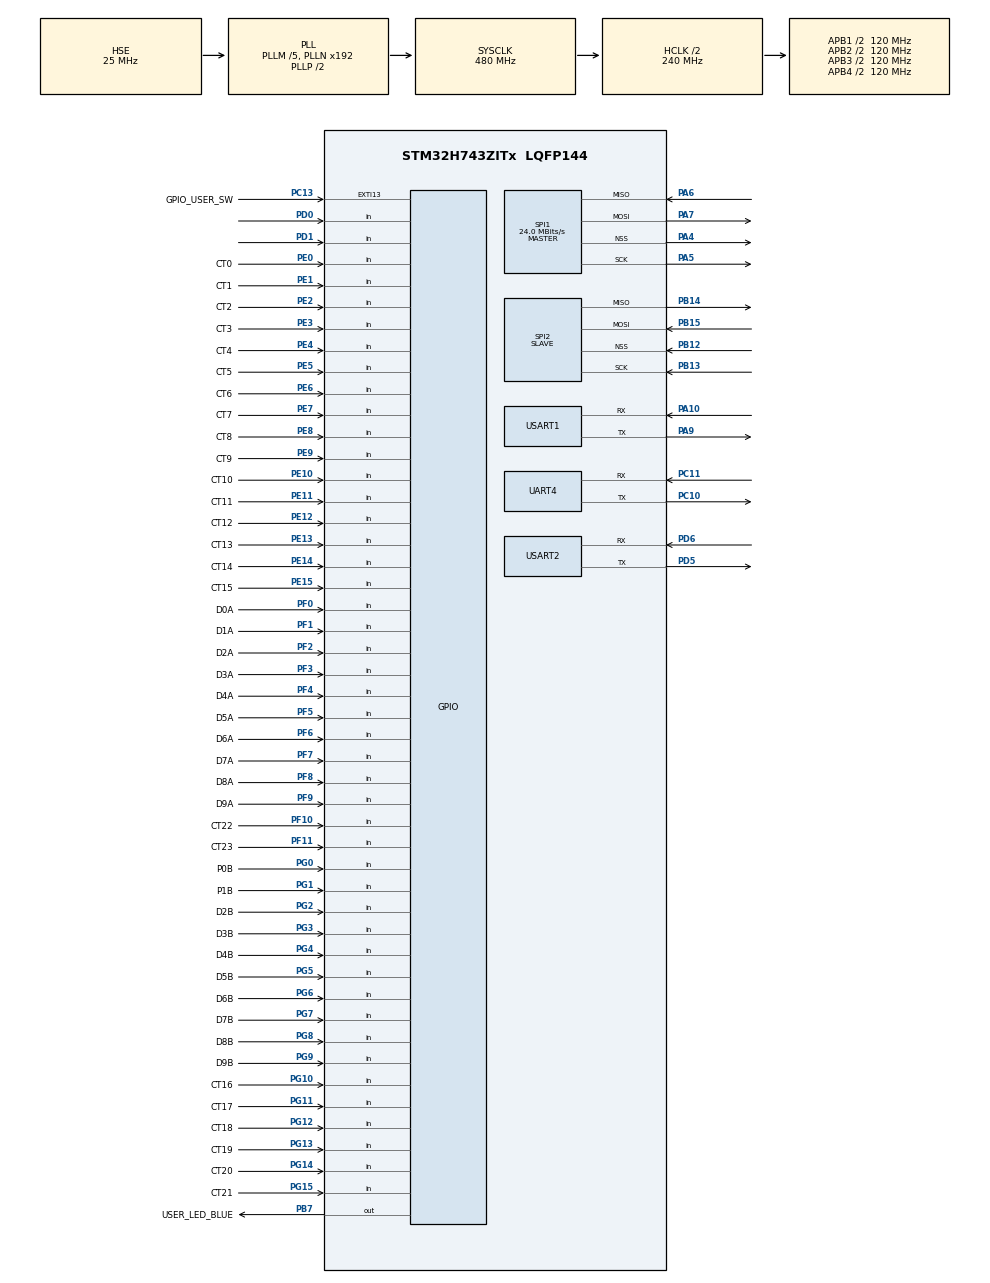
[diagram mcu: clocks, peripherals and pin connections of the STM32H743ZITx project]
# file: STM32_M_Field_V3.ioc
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CORTEX_M7.default_mode_Activation=1
IWDG1.Prescaler=IWDG_PRESCALER_64
IWDG1.Reload=4000
IWDG1.Window=4000
Mcu.Family=STM32H7
Mcu.Name=STM32H743ZITx
Mcu.Package=LQFP144
NVIC.PriorityGroup=NVIC_PRIORITYGROUP_4
PA10.GPIO_Speed=GPIO_SPEED_FREQ_VERY_HIGH
PA10.Mode=Asynchronous
PA10.Signal=USART1_RX
PA13\ (JTMS/SWDIO).Signal=DEBUG_JTMS-SWDIO
PA14\ (JTCK/SWCLK).Signal=DEBUG_JTCK-SWCLK
PA4.Mode=NSS_Signal_Hard_Output
PA4.Signal=SPI1_NSS
PA5.Mode=Full_Duplex_Master
PA5.Signal=SPI1_SCK
PA6.Mode=Full_Duplex_Master
PA6.Signal=SPI1_MISO
PA7.Mode=Full_Duplex_Master
PA7.Signal=SPI1_MOSI
PA9.GPIO_Speed=GPIO_SPEED_FREQ_VERY_HIGH
PA9.Mode=Asynchronous
PA9.Signal=USART1_TX
PB12.Mode=NSS_Signal_Hard_Input
PB12.Signal=SPI2_NSS
PB13.Mode=Full_Duplex_Slave
PB13.Signal=SPI2_SCK
PB14.Mode=Full_Duplex_Slave
PB14.Signal=SPI2_MISO
PB15.Mode=Full_Duplex_Slave
PB15.Signal=SPI2_MOSI
PB7.GPIO_Label=USER_LED_BLUE
PB7.Signal=GPIO_Output
PC10.GPIO_Speed=GPIO_SPEED_FREQ_VERY_HIGH
PC10.Mode=Asynchronous
PC10.Signal=UART4_TX
PC11.GPIO_Speed=GPIO_SPEED_FREQ_VERY_HIGH
PC11.Mode=Asynchronous
PC11.Signal=UART4_RX
PC13.GPIO_Label=GPIO_USER_SW
PC13.Signal=GPXTI13
PD0.Signal=GPIO_Input
PD1.Signal=GPIO_Input
PD5.GPIO_Speed=GPIO_SPEED_FREQ_VERY_HIGH
PD5.Mode=Asynchronous
PD5.Signal=USART2_TX
PD6.GPIO_Speed=GPIO_SPEED_FREQ_VERY_HIGH
PD6.Mode=Asynchronous
PD6.Signal=USART2_RX
PD8.Signal=USART3_TX
PD9.Signal=USART3_RX
PE0.GPIO_Label=CT0
PE0.Signal=GPIO_Input
PE1.GPIO_Label=CT1
PE1.Signal=GPIO_Input
PE10.GPIO_Label=CT10
PE10.Signal=GPIO_Input
PE11.GPIO_Label=CT11
PE11.Signal=GPIO_Input
PE12.GPIO_Label=CT12
PE12.Signal=GPIO_Input
PE13.GPIO_Label=CT13
PE13.Signal=GPIO_Input
PE14.GPIO_Label=CT14
PE14.Signal=GPIO_Input
PE15.GPIO_Label=CT15
PE15.Signal=GPIO_Input
PE2.GPIO_Label=CT2
PE2.Signal=GPIO_Input
PE3.GPIO_Label=CT3
PE3.Signal=GPIO_Input
PE4.GPIO_Label=CT4
PE4.Signal=GPIO_Input
PE5.GPIO_Label=CT5
PE5.Signal=GPIO_Input
PE6.GPIO_Label=CT6
PE6.Signal=GPIO_Input
PE7.GPIO_Label=CT7
PE7.Signal=GPIO_Input
PE8.GPIO_Label=CT8
PE8.Signal=GPIO_Input
PE9.GPIO_Label=CT9
PE9.Signal=GPIO_Input
PF0.GPIO_Label=D0A
PF0.Signal=GPIO_Input
PF1.GPIO_Label=D1A
PF1.Signal=GPIO_Input
PF10.GPIO_Label=CT22
PF10.Signal=GPIO_Input
PF11.GPIO_Label=CT23
PF11.Signal=GPIO_Input
PF2.GPIO_Label=D2A
PF2.Signal=GPIO_Input
PF3.GPIO_Label=D3A
PF3.Signal=GPIO_Input
PF4.GPIO_Label=D4A
PF4.Signal=GPIO_Input
PF5.GPIO_Label=D5A
PF5.Signal=GPIO_Input
PF6.GPIO_Label=D6A
PF6.Signal=GPIO_Input
PF7.GPIO_Label=D7A
PF7.Signal=GPIO_Input
PF8.GPIO_Label=D8A
PF8.Signal=GPIO_Input
PF9.GPIO_Label=D9A
PF9.Signal=GPIO_Input
PG0.GPIO_Label=P0B
PG0.Signal=GPIO_Input
PG1.GPIO_Label=P1B
PG1.Signal=GPIO_Input
PG10.GPIO_Label=CT16
PG10.Signal=GPIO_Input
PG11.GPIO_Label=CT17
PG11.Signal=GPIO_Input
PG12.GPIO_Label=CT18
PG12.Signal=GPIO_Input
PG13.GPIO_Label=CT19
PG13.Signal=GPIO_Input
PG14.GPIO_Label=CT20
PG14.Signal=GPIO_Input
PG15.GPIO_Label=CT21
PG15.Signal=GPIO_Input
PG2.GPIO_Label=D2B
PG2.Signal=GPIO_Input
PG3.GPIO_Label=D3B
PG3.Signal=GPIO_Input
PG4.GPIO_Label=D4B
PG4.Signal=GPIO_Input
PG5.GPIO_Label=D5B
PG5.Signal=GPIO_Input
PG6.GPIO_Label=D6B
PG6.Signal=GPIO_Input
PG7.GPIO_Label=D7B
PG7.Signal=GPIO_Input
PG8.GPIO_Label=D8B
PG8.Signal=GPIO_Input
PG9.GPIO_Label=D9B
PG9.Signal=GPIO_Input
PH0-OSC_IN\ (PH0).Mode=HSE-External-Oscillator
PH0-OSC_IN\ (PH0).Signal=RCC_OSC_IN
PH1-OSC_OUT\ (PH1).Mode=HSE-External-Oscillator
PH1-OSC_OUT\ (PH1).Signal=RCC_OSC_OUT
ProjectManager.HeapSize=0x200
ProjectManager.StackSize=0x400
ProjectManager.TargetToolchain=STM32CubeIDE
RCC.ADCFreq_Value=50390625
RCC.APB1Freq_Value=120000000
RCC.APB2Freq_Value=120000000
RCC.APB3Freq_Value=120000000
RCC.APB4Freq_Value=120000000
RCC.CortexFreq_Value=480000000
RCC.D1PPRE=RCC_APB3_DIV2
RCC.D2PPRE1=RCC_APB1_DIV2
RCC.D2PPRE2=RCC_APB2_DIV2
RCC.D3PPRE=RCC_APB4_DIV2
RCC.DIVM1=5
RCC.DIVN1=192
RCC.DIVQ1=5
RCC.HCLKFreq_Value=240000000
RCC.HPRE=RCC_HCLK_DIV2
RCC.HSE_VALUE=25000000
RCC.PLLFRACN=0
RCC.PLLSourceVirtual=RCC_PLLSOURCE_HSE
RCC.SYSCLKFreq_VALUE=480000000
RCC.SYSCLKSource=RCC_SYSCLKSOURCE_PLLCLK
RCC.USBFreq_Value=192000000
SPI1.BaudRatePrescaler=SPI_BAUDRATEPRESCALER_8
SPI1.CalculateBaudRate=24.0 MBits/s
SPI1.DataSize=SPI_DATASIZE_8BIT
SPI1.Direction=SPI_DIRECTION_2LINES
SPI1.Mode=SPI_MODE_MASTER
SPI1.NSSPMode=SPI_NSS_PULSE_DISABLE
SPI1.VirtualNSS=VM_NSSHARD
SPI1.VirtualType=VM_MASTER
SPI2.DataSize=SPI_DATASIZE_8BIT
SPI2.Direction=SPI_DIRECTION_2LINES
SPI2.Mode=SPI_MODE_SLAVE
SPI2.VirtualNSS=VM_NSSHARD
SPI2.VirtualType=VM_SLAVE
USART1.VirtualMode-Asynchronous=VM_ASYNC
USART2.VirtualMode-Asynchronous=VM_ASYNC
VP_IWDG1_VS_IWDG.Mode=IWDG_Activate
VP_MEMORYMAP_VS_MEMORYMAP.Mode=CurAppReg
board=custom

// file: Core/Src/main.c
/* USER CODE BEGIN Header */
/**
  ******************************************************************************
  * @file           : main.c
  * @brief          : Main program body
  ******************************************************************************
  * @attention
  *
  * Copyright (c) 2025 STMicroelectronics.
  * All rights reserved.
  *
  ******************************************************************************
  *  >>> THINGS YOU MUST VERIFY FOR YOUR BOARD <<<
  *    1. Buffers MUST live in DMA-accessible RAM (AXI SRAM / SRAM1..3),
  *       NOT DTCM. See the ".axisram" section note below.
  *    2. TIM2_UP / DMA_REQUEST_TIM2_UP / DMA1 streams exist on your part.
  *    3. If D-Cache is ON, the SCB_InvalidateDCache_by_Addr() calls are needed
  *       (already included). aligned(32) + size multiple of 32 is required.
  *    4. EXTI1/EXTI3 IRQHandlers must not also be defined in stm32h7xx_it.c
  *       (remove them there if duplicated).
  *  ==========================================================================
  */
/* USER CODE END Header */
#include "main.h"

/* USER CODE BEGIN Includes */
#include <stdio.h>
#include <string.h>
/* USER CODE END Includes */

/* USER CODE BEGIN PTD */
typedef struct {
	uint16_t data_port_e;
	uint16_t data_port_f;
	uint16_t data_port_g;
} sample_t;

typedef struct {
	int16_t ns_adc;
	int16_t ew_adc;
	uint32_t ns_t;
	uint32_t ew_t;
	uint32_t counter;
} data_record_t;

typedef struct {
	int16_t max_ns_adc;
	int16_t max_ew_adc;
	uint32_t max_ns_t;
	uint32_t max_ew_t;
	float max_ns_inp;
	float max_ew_inp;
} max_sample_t;

typedef struct {
	int16_t min_ns_adc;
	int16_t min_ew_adc;
	uint32_t min_ns_t;
	uint32_t min_ew_t;
} min_sample_t;

typedef struct {
	uint8_t ns_rec_type;
	int16_t ns_first_adc;
	int16_t ns_max_adc;
	int16_t ns_min_adc;
	int16_t ew_first_adc;
	int16_t ew_max_adc;
	int16_t ew_min_adc;
	uint32_t ns_max_t;
	uint32_t ns_min_t;
	uint32_t ew_max_t;
	uint32_t ew_min_t;
	uint32_t trigger_t;
	int16_t ns_favg;
	int16_t ew_favg;
} record_t;

#define POL_RX_SIZE     4
#define POL_TIMEOUT_MS  1000
#define SPI_TX_FRAME_SIZE  128

uint8_t spiTxFrame[SPI_TX_FRAME_SIZE];

typedef enum { POL_NEGATIVE = 0,
			   POL_POSITIVE = 1,
			   POL_UNKNOWN  = 2      /* UNKNOWN */
} polarity_t;

uint8_t polRxBuf[POL_RX_SIZE];
uint8_t polarity = POL_UNKNOWN;  /* = 2 */

volatile uint32_t trig_pos     = 0;   // DMA write index latched at trigger moment
volatile uint8_t  trigger_flag = 0;
uint32_t captured_count = 0;

/* USER CODE END PTD */

/* USER CODE BEGIN PD */
#define DEBUG_PRINT_DATA_ENABLE
#define DEBUG_SYSTEM_ENABLE

//#define WATCHDOG_DISABLE

#define SETTING_USE_DATASHEET_PARAM
//#define SETTING_INVERT_EW_CHANNEL

#define DELAY_SEC						1
#define MAX_BUF_SIZE					500

#define TB_MODE_0						0
#define TB_MODE_1						~(TB_MODE_0)
#define TB_MODE							TB_MODE_0

#define SAMPLE_READ_MAX					1000
#define ADC_R1         				 	10000.0
#define ADC_R2          				4320.0
#define BUFFER_SIZE 					2000

/* --- DMA sampling configuration ---------------------------------------------
 * TIM2 kernel clock on this clock tree = 240 MHz
 *   (HCLK = 480/2 = 240 MHz, APB1 /2 -> PCLK1 120 MHz, timer x2 -> 240 MHz)
 * ARR = (TIM2_CLK / SAMPLE_RATE_HZ) - 1
 *   1 MHz  -> ARR 239   (1.0 us / sample)
 *   2 MHz  -> ARR 119   (0.5 us / sample)
 *   ~3.3MHz-> ARR  71   (matches old read_adc ~300 ns)
 * Pick a rate the AHB bus + 4 parallel DMA can sustain; start safe, then push.
 */
#define TIM2_CLK_HZ						240000000UL
#define SAMPLE_RATE_HZ					1000000UL
#define TIM2_ARR						((TIM2_CLK_HZ / SAMPLE_RATE_HZ) - 1U)

#ifdef SETTING_USE_DATASHEET_PARAM
	#define ADC_VREF_P						2.048
	#define ADC_VREF_N						0.988
	#define ADC_OFFSET						1.52
#else
	#define ADC_VREF_P						2.003
	#define ADC_VREF_N						0.994
	#define ADC_OFFSET						1.55
#endif
/* USER CODE END PD */

/* USER CODE BEGIN PM */
/* DMA target buffers — MUST be in AXI SRAM (DMA cannot reach DTCM).
 * If your linker has no ".axisram" output section, either:
 *   (a) add one mapping to RAM_D1 (0x24000000) in your .ld, OR
 *   (b) remove the section attribute IF your project's default RAM is AXI SRAM
 *       (many CubeIDE H7 projects default to DTCM — do NOT leave it there).
 * aligned(32) + (BUFFER_SIZE*2) multiple of 32 -> safe for D-Cache maintenance.
 */
/* USER CODE END PM */

IWDG_HandleTypeDef hiwdg1;

SPI_HandleTypeDef hspi1;
SPI_HandleTypeDef hspi2;

UART_HandleTypeDef huart4;
UART_HandleTypeDef huart1;
UART_HandleTypeDef huart2;

/* USER CODE BEGIN PV */
UART_HandleTypeDef *esp_uart;
UART_HandleTypeDef *debug_uart;

sample_t sample[SAMPLE_READ_MAX];
sample_t ordered[SAMPLE_READ_MAX];   // <<< เพิ่มบรรทัดนี้
record_t rec;

/* USER CODE END PV */

void SystemClock_Config(void);
static void MPU_Config(void);
static void MX_GPIO_Init(void);
static void MX_IWDG1_Init(void);
static void MX_UART4_Init(void);
static void MX_USART1_UART_Init(void);
static void MX_USART2_UART_Init(void);
static void MX_SPI1_Init(void);
static void MX_SPI2_Init(void);
/* USER CODE BEGIN PFP */
void find_max_min();
void send_data();
void EXTI0_IRQHandler(void);
void EXTI1_IRQHandler(void);
void HAL_GPIO_EXTI_Callback(uint16_t GPIO_Pin);
void collect_samples(void);
void clear_buffer(void);
void reorder_samples(uint32_t n);
void send_data_spi1(uint8_t pol);
void receive_polarity(void);
/* USER CODE END PFP */

/* USER CODE BEGIN 0 */
void delay_sec(int sec){
	int count_500ms = 0;
	do{
		if (HAL_IWDG_Refresh(&hiwdg1) != HAL_OK){
			Error_Handler();
		}
		HAL_Delay(500);
		count_500ms++;
	}while(count_500ms < (sec<<1));
}
/* USER CODE END 0 */

int main(void)
{

  /* MPU Configuration--------------------------------------------------------*/
  MPU_Config();

  /* MCU Configuration--------------------------------------------------------*/

  /* Reset of all peripherals, Initializes the Flash interface and the Systick. */
  HAL_Init();

  /* USER CODE BEGIN Init */
  // -- UART Mapping -- //
  esp_uart = &huart2;
  debug_uart = &huart4;
  /* USER CODE END Init */

  /* Configure the system clock */
  SystemClock_Config();

  /* Initialize all configured peripherals */
  MX_GPIO_Init();
  MX_IWDG1_Init();
  MX_UART4_Init();
  MX_USART1_UART_Init();
  MX_USART2_UART_Init();
  MX_SPI1_Init();
  MX_SPI2_Init();
  /* USER CODE BEGIN 2 */

  // Temp for debug
#ifdef WATCHDOG_DISABLE
  DBGMCU->APB1FZ |= DBGMCU_APB1_FZ_DBG_IWDG_STOP;
#endif

  printf("Last reset cause : ");

  if (__HAL_RCC_GET_FLAG(RCC_FLAG_IWDG1RST))
  {
      printf("IWDG1 timer");
  }
  else if (__HAL_RCC_GET_FLAG(RCC_FLAG_PINRST))
  {
      printf("Reset Pin");
  }
  else if (__HAL_RCC_GET_FLAG(RCC_FLAG_PORRST))
  {
      printf("Power On Reset");
  }
  else if (__HAL_RCC_GET_FLAG(RCC_FLAG_SFTRST))
  {
      printf("Software Reset");
  }
  else
  {
      printf("Other reason");
  }

  printf("\n");

  /* Clear reset flags */
  __HAL_RCC_CLEAR_RESET_FLAGS();

//  printf("Setup :\n");

 // printf("Main program started (DMA capture @ %lu Hz, ARR=%lu)\n",
 //        (unsigned long)SAMPLE_RATE_HZ, (unsigned long)TIM2_ARR);
  HAL_GPIO_WritePin(USER_LED_BLUE_GPIO_Port, USER_LED_BLUE_Pin, 0);
  /* USER CODE END 2 */

  /* Infinite loop */
  while (1)
  {
		    HAL_IWDG_Refresh(&hiwdg1);

		    collect_samples();          // เก็บจนกว่าจะ trig หรือเต็ม

		    if (trigger_flag)           // ถ้ามี trig จริง -> วิเคราะห์
		    {
		    	reorder_samples(captured_count);
		    	receive_polarity();
		        find_max_min();
		        send_data_spi1(polarity);
		        // send_data();
		        clear_buffer();
	    }
  }
  /* USER CODE END 3 */
}

void SystemClock_Config(void)
{
  RCC_OscInitTypeDef RCC_OscInitStruct = {0};
  RCC_ClkInitTypeDef RCC_ClkInitStruct = {0};

  /** Supply configuration update enable
  */
  HAL_PWREx_ConfigSupply(PWR_LDO_SUPPLY);

  /** Configure the main internal regulator output voltage
  */
  __HAL_PWR_VOLTAGESCALING_CONFIG(PWR_REGULATOR_VOLTAGE_SCALE0);

  while(!__HAL_PWR_GET_FLAG(PWR_FLAG_VOSRDY)) {}

  /** Initializes the RCC Oscillators according to the specified parameters
  * in the RCC_OscInitTypeDef structure.
  */
  RCC_OscInitStruct.OscillatorType = RCC_OSCILLATORTYPE_LSI|RCC_OSCILLATORTYPE_HSE;
  RCC_OscInitStruct.HSEState = RCC_HSE_ON;
  RCC_OscInitStruct.LSIState = RCC_LSI_ON;
  RCC_OscInitStruct.PLL.PLLState = RCC_PLL_ON;
  RCC_OscInitStruct.PLL.PLLSource = RCC_PLLSOURCE_HSE;
  RCC_OscInitStruct.PLL.PLLM = 5;
  RCC_OscInitStruct.PLL.PLLN = 192;
  RCC_OscInitStruct.PLL.PLLP = 2;
  RCC_OscInitStruct.PLL.PLLQ = 5;
  RCC_OscInitStruct.PLL.PLLR = 2;
  RCC_OscInitStruct.PLL.PLLRGE = RCC_PLL1VCIRANGE_2;
  RCC_OscInitStruct.PLL.PLLVCOSEL = RCC_PLL1VCOWIDE;
  RCC_OscInitStruct.PLL.PLLFRACN = 0;
  if (HAL_RCC_OscConfig(&RCC_OscInitStruct) != HAL_OK)
  {
    Error_Handler();
  }

  /** Initializes the CPU, AHB and APB buses clocks
  */
  RCC_ClkInitStruct.ClockType = RCC_CLOCKTYPE_HCLK|RCC_CLOCKTYPE_SYSCLK
                              |RCC_CLOCKTYPE_PCLK1|RCC_CLOCKTYPE_PCLK2
                              |RCC_CLOCKTYPE_D3PCLK1|RCC_CLOCKTYPE_D1PCLK1;
  RCC_ClkInitStruct.SYSCLKSource = RCC_SYSCLKSOURCE_PLLCLK;
  RCC_ClkInitStruct.SYSCLKDivider = RCC_SYSCLK_DIV1;
  RCC_ClkInitStruct.AHBCLKDivider = RCC_HCLK_DIV2;
  RCC_ClkInitStruct.APB3CLKDivider = RCC_APB3_DIV2;
  RCC_ClkInitStruct.APB1CLKDivider = RCC_APB1_DIV2;
  RCC_ClkInitStruct.APB2CLKDivider = RCC_APB2_DIV2;
  RCC_ClkInitStruct.APB4CLKDivider = RCC_APB4_DIV2;

  if (HAL_RCC_ClockConfig(&RCC_ClkInitStruct, FLASH_LATENCY_4) != HAL_OK)
  {
    Error_Handler();
  }
}

static void MX_IWDG1_Init(void)
{

  hiwdg1.Instance = IWDG1;
  hiwdg1.Init.Prescaler = IWDG_PRESCALER_64;
  hiwdg1.Init.Window = 4000;
  hiwdg1.Init.Reload = 4000;
  if (HAL_IWDG_Init(&hiwdg1) != HAL_OK)
  {
    Error_Handler();
  }

}

static void MX_SPI1_Init(void)
{

  /* SPI1 parameter configuration*/
  hspi1.Instance = SPI1;
  hspi1.Init.Mode = SPI_MODE_MASTER;
  hspi1.Init.Direction = SPI_DIRECTION_2LINES;
  hspi1.Init.DataSize = SPI_DATASIZE_8BIT;
  hspi1.Init.CLKPolarity = SPI_POLARITY_LOW;
  hspi1.Init.CLKPhase = SPI_PHASE_1EDGE;
  hspi1.Init.NSS = SPI_NSS_HARD_OUTPUT;
  hspi1.Init.BaudRatePrescaler = SPI_BAUDRATEPRESCALER_8;
  hspi1.Init.FirstBit = SPI_FIRSTBIT_MSB;
  hspi1.Init.TIMode = SPI_TIMODE_DISABLE;
  hspi1.Init.CRCCalculation = SPI_CRCCALCULATION_DISABLE;
  hspi1.Init.CRCPolynomial = 0x0;
  hspi1.Init.NSSPMode = SPI_NSS_PULSE_DISABLE;
  hspi1.Init.NSSPolarity = SPI_NSS_POLARITY_LOW;
  hspi1.Init.FifoThreshold = SPI_FIFO_THRESHOLD_01DATA;
  hspi1.Init.TxCRCInitializationPattern = SPI_CRC_INITIALIZATION_ALL_ZERO_PATTERN;
  hspi1.Init.RxCRCInitializationPattern = SPI_CRC_INITIALIZATION_ALL_ZERO_PATTERN;
  hspi1.Init.MasterSSIdleness = SPI_MASTER_SS_IDLENESS_00CYCLE;
  hspi1.Init.MasterInterDataIdleness = SPI_MASTER_INTERDATA_IDLENESS_00CYCLE;
  hspi1.Init.MasterReceiverAutoSusp = SPI_MASTER_RX_AUTOSUSP_DISABLE;
  hspi1.Init.MasterKeepIOState = SPI_MASTER_KEEP_IO_STATE_DISABLE;
  hspi1.Init.IOSwap = SPI_IO_SWAP_DISABLE;
  if (HAL_SPI_Init(&hspi1) != HAL_OK)
  {
    Error_Handler();
  }

}

static void MX_SPI2_Init(void)
{

  /* SPI2 parameter configuration*/
  hspi2.Instance = SPI2;
  hspi2.Init.Mode = SPI_MODE_SLAVE;
  hspi2.Init.Direction = SPI_DIRECTION_2LINES;
  hspi2.Init.DataSize = SPI_DATASIZE_8BIT;
  hspi2.Init.CLKPolarity = SPI_POLARITY_LOW;
  hspi2.Init.CLKPhase = SPI_PHASE_1EDGE;
  hspi2.Init.NSS = SPI_NSS_HARD_INPUT;
  hspi2.Init.FirstBit = SPI_FIRSTBIT_MSB;
  hspi2.Init.TIMode = SPI_TIMODE_DISABLE;
  hspi2.Init.CRCCalculation = SPI_CRCCALCULATION_DISABLE;
  hspi2.Init.CRCPolynomial = 0x0;
  hspi2.Init.NSSPMode = SPI_NSS_PULSE_DISABLE;
  hspi2.Init.NSSPolarity = SPI_NSS_POLARITY_LOW;
  hspi2.Init.FifoThreshold = SPI_FIFO_THRESHOLD_01DATA;
  hspi2.Init.TxCRCInitializationPattern = SPI_CRC_INITIALIZATION_ALL_ZERO_PATTERN;
  hspi2.Init.RxCRCInitializationPattern = SPI_CRC_INITIALIZATION_ALL_ZERO_PATTERN;
  hspi2.Init.MasterSSIdleness = SPI_MASTER_SS_IDLENESS_00CYCLE;
  hspi2.Init.MasterInterDataIdleness = SPI_MASTER_INTERDATA_IDLENESS_00CYCLE;
  hspi2.Init.MasterReceiverAutoSusp = SPI_MASTER_RX_AUTOSUSP_DISABLE;
  hspi2.Init.MasterKeepIOState = SPI_MASTER_KEEP_IO_STATE_DISABLE;
  hspi2.Init.IOSwap = SPI_IO_SWAP_DISABLE;
  if (HAL_SPI_Init(&hspi2) != HAL_OK)
  {
    Error_Handler();
  }

}

static void MX_UART4_Init(void)
{

  huart4.Instance = UART4;
  huart4.Init.BaudRate = 115200;
  huart4.Init.WordLength = UART_WORDLENGTH_8B;
  huart4.Init.StopBits = UART_STOPBITS_1;
  huart4.Init.Parity = UART_PARITY_NONE;
  huart4.Init.Mode = UART_MODE_TX_RX;
  huart4.Init.HwFlowCtl = UART_HWCONTROL_NONE;
  huart4.Init.OverSampling = UART_OVERSAMPLING_16;
  huart4.Init.OneBitSampling = UART_ONE_BIT_SAMPLE_DISABLE;
  huart4.Init.ClockPrescaler = UART_PRESCALER_DIV1;
  huart4.AdvancedInit.AdvFeatureInit = UART_ADVFEATURE_NO_INIT;
  if (HAL_UART_Init(&huart4) != HAL_OK)
  {
    Error_Handler();
  }
  if (HAL_UARTEx_SetTxFifoThreshold(&huart4, UART_TXFIFO_THRESHOLD_1_8) != HAL_OK)
  {
    Error_Handler();
  }
  if (HAL_UARTEx_SetRxFifoThreshold(&huart4, UART_RXFIFO_THRESHOLD_1_8) != HAL_OK)
  {
    Error_Handler();
  }
  if (HAL_UARTEx_DisableFifoMode(&huart4) != HAL_OK)
  {
    Error_Handler();
  }

}

static void MX_USART1_UART_Init(void)
{

  huart1.Instance = USART1;
  huart1.Init.BaudRate = 115200;
  huart1.Init.WordLength = UART_WORDLENGTH_8B;
  huart1.Init.StopBits = UART_STOPBITS_1;
  huart1.Init.Parity = UART_PARITY_NONE;
  huart1.Init.Mode = UART_MODE_TX_RX;
  huart1.Init.HwFlowCtl = UART_HWCONTROL_NONE;
  huart1.Init.OverSampling = UART_OVERSAMPLING_16;
  huart1.Init.OneBitSampling = UART_ONE_BIT_SAMPLE_DISABLE;
  huart1.Init.ClockPrescaler = UART_PRESCALER_DIV1;
  huart1.AdvancedInit.AdvFeatureInit = UART_ADVFEATURE_NO_INIT;
  if (HAL_UART_Init(&huart1) != HAL_OK)
  {
    Error_Handler();
  }
  if (HAL_UARTEx_SetTxFifoThreshold(&huart1, UART_TXFIFO_THRESHOLD_1_8) != HAL_OK)
  {
    Error_Handler();
  }
  if (HAL_UARTEx_SetRxFifoThreshold(&huart1, UART_RXFIFO_THRESHOLD_1_8) != HAL_OK)
  {
    Error_Handler();
  }
  if (HAL_UARTEx_DisableFifoMode(&huart1) != HAL_OK)
  {
    Error_Handler();
  }

}

static void MX_USART2_UART_Init(void)
{

  huart2.Instance = USART2;
  huart2.Init.BaudRate = 115200;
  huart2.Init.WordLength = UART_WORDLENGTH_8B;
  huart2.Init.StopBits = UART_STOPBITS_1;
  huart2.Init.Parity = UART_PARITY_NONE;
  huart2.Init.Mode = UART_MODE_TX_RX;
  huart2.Init.HwFlowCtl = UART_HWCONTROL_NONE;
  huart2.Init.OverSampling = UART_OVERSAMPLING_16;
  huart2.Init.OneBitSampling = UART_ONE_BIT_SAMPLE_DISABLE;
  huart2.Init.ClockPrescaler = UART_PRESCALER_DIV1;
  huart2.AdvancedInit.AdvFeatureInit = UART_ADVFEATURE_NO_INIT;
  if (HAL_UART_Init(&huart2) != HAL_OK)
  {
    Error_Handler();
  }
  if (HAL_UARTEx_SetTxFifoThreshold(&huart2, UART_TXFIFO_THRESHOLD_1_8) != HAL_OK)
  {
    Error_Handler();
  }
  if (HAL_UARTEx_SetRxFifoThreshold(&huart2, UART_RXFIFO_THRESHOLD_1_8) != HAL_OK)
  {
    Error_Handler();
  }
  if (HAL_UARTEx_DisableFifoMode(&huart2) != HAL_OK)
  {
    Error_Handler();
  }

}

static void MX_GPIO_Init(void)
{
  GPIO_InitTypeDef GPIO_InitStruct = {0};

  /* GPIO Ports Clock Enable */
  __HAL_RCC_GPIOE_CLK_ENABLE();
  __HAL_RCC_GPIOC_CLK_ENABLE();
  __HAL_RCC_GPIOF_CLK_ENABLE();
  __HAL_RCC_GPIOH_CLK_ENABLE();
  __HAL_RCC_GPIOA_CLK_ENABLE();
  __HAL_RCC_GPIOG_CLK_ENABLE();
  __HAL_RCC_GPIOB_CLK_ENABLE();
  __HAL_RCC_GPIOD_CLK_ENABLE();

  /*Configure GPIO pin Output Level */
  HAL_GPIO_WritePin(USER_LED_BLUE_GPIO_Port, USER_LED_BLUE_Pin, GPIO_PIN_RESET);

  /*Configure GPIO pins : CT2_Pin CT3_Pin CT4_Pin CT5_Pin
                           CT6_Pin CT7_Pin CT8_Pin CT9_Pin
                           CT10_Pin CT11_Pin CT12_Pin CT13_Pin
                           CT14_Pin CT15_Pin CT0_Pin CT1_Pin */
  GPIO_InitStruct.Pin = CT2_Pin|CT3_Pin|CT4_Pin|CT5_Pin
                          |CT6_Pin|CT7_Pin|CT8_Pin|CT9_Pin
                          |CT10_Pin|CT11_Pin|CT12_Pin|CT13_Pin
                          |CT14_Pin|CT15_Pin|CT0_Pin|CT1_Pin;
  GPIO_InitStruct.Mode = GPIO_MODE_INPUT;
  GPIO_InitStruct.Pull = GPIO_NOPULL;
  HAL_GPIO_Init(GPIOE, &GPIO_InitStruct);

  /*Configure GPIO pin : GPIO_USER_SW_Pin */
  GPIO_InitStruct.Pin = GPIO_USER_SW_Pin;
  GPIO_InitStruct.Mode = GPIO_MODE_IT_RISING;
  GPIO_InitStruct.Pull = GPIO_NOPULL;
  HAL_GPIO_Init(GPIO_USER_SW_GPIO_Port, &GPIO_InitStruct);

  /*Configure GPIO pins : D0A_Pin D1A_Pin D2A_Pin D3A_Pin
                           D4A_Pin D5A_Pin D6A_Pin D7A_Pin
                           D8A_Pin D9A_Pin CT22_Pin CT23_Pin */
  GPIO_InitStruct.Pin = D0A_Pin|D1A_Pin|D2A_Pin|D3A_Pin
                          |D4A_Pin|D5A_Pin|D6A_Pin|D7A_Pin
                          |D8A_Pin|D9A_Pin|CT22_Pin|CT23_Pin;
  GPIO_InitStruct.Mode = GPIO_MODE_INPUT;
  GPIO_InitStruct.Pull = GPIO_NOPULL;
  HAL_GPIO_Init(GPIOF, &GPIO_InitStruct);

  /*Configure GPIO pins : P0B_Pin P1B_Pin D2B_Pin D3B_Pin
                           D4B_Pin D5B_Pin D6B_Pin D7B_Pin
                           D8B_Pin D9B_Pin CT16_Pin CT17_Pin
                           CT18_Pin CT19_Pin CT20_Pin CT21_Pin */
  GPIO_InitStruct.Pin = P0B_Pin|P1B_Pin|D2B_Pin|D3B_Pin
                          |D4B_Pin|D5B_Pin|D6B_Pin|D7B_Pin
                          |D8B_Pin|D9B_Pin|CT16_Pin|CT17_Pin
                          |CT18_Pin|CT19_Pin|CT20_Pin|CT21_Pin;
  GPIO_InitStruct.Mode = GPIO_MODE_INPUT;
  GPIO_InitStruct.Pull = GPIO_NOPULL;
  HAL_GPIO_Init(GPIOG, &GPIO_InitStruct);

  /*Configure GPIO pins : PD8 PD9 */
  GPIO_InitStruct.Pin = GPIO_PIN_8|GPIO_PIN_9;
  GPIO_InitStruct.Mode = GPIO_MODE_AF_PP;
  GPIO_InitStruct.Pull = GPIO_NOPULL;
  GPIO_InitStruct.Speed = GPIO_SPEED_FREQ_LOW;
  GPIO_InitStruct.Alternate = GPIO_AF7_USART3;
  HAL_GPIO_Init(GPIOD, &GPIO_InitStruct);

  /*Configure GPIO pins : PD0 PD1 */
  GPIO_InitStruct.Pin = GPIO_PIN_0|GPIO_PIN_1;
  GPIO_InitStruct.Mode = GPIO_MODE_INPUT;
  GPIO_InitStruct.Pull = GPIO_NOPULL;
  HAL_GPIO_Init(GPIOD, &GPIO_InitStruct);

  /*Configure GPIO pin : USER_LED_BLUE_Pin */
  GPIO_InitStruct.Pin = USER_LED_BLUE_Pin;
  GPIO_InitStruct.Mode = GPIO_MODE_OUTPUT_PP;
  GPIO_InitStruct.Pull = GPIO_NOPULL;
  GPIO_InitStruct.Speed = GPIO_SPEED_FREQ_LOW;
  HAL_GPIO_Init(USER_LED_BLUE_GPIO_Port, &GPIO_InitStruct);

  /* USER CODE BEGIN MX_GPIO_Init_2 */
  HAL_NVIC_SetPriority(EXTI0_IRQn, 0, 0);
  HAL_NVIC_EnableIRQ(EXTI0_IRQn);
  HAL_NVIC_SetPriority(EXTI1_IRQn, 0, 0);
  HAL_NVIC_EnableIRQ(EXTI1_IRQn);
  /* USER CODE END MX_GPIO_Init_2 */
}

/* USER CODE BEGIN 4 */
int16_t convert_number(uint16_t data){
	int16_t value;
#if TB_MODE == TB_MODE_0
		if((data & 0x0200) > 0){
			// Positive
			value = data & 0x01ff;
		}else{
			// Negative
			value = -(((~data + 1) & 0x01ff));
		}
#else
		if((data & 0x0200) > 0){
			// Negative
			value = -(~data + 0x0001);
		} else{
			// Positive
			value = data & 0x01ff;
		}
#endif
	return value;
}

void send_data(){
	char send_buf[MAX_BUF_SIZE];
	uint8_t chksum = 0xa5;			// Temp, the checksum should be a calculated one.

	sprintf(send_buf, "$STMFIELD,%d,%d,%lu,%d,%lu,%d,%lu,%d,%lu,%d,%lu*%02X\r\n", rec.ns_first_adc, rec.ew_first_adc,
			rec.trigger_t, rec.ns_max_adc, rec.ns_max_t, rec.ns_min_adc, rec.ns_min_t, rec.ew_max_adc, rec.ew_max_t, rec.ew_min_adc,rec.ew_min_t, chksum);
	HAL_UART_Transmit(esp_uart, (uint8_t*)send_buf, strlen(send_buf), HAL_MAX_DELAY);
#ifdef DEBUG_SYSTEM_ENABLE
	printf("\nSend update to ESP32 = %s\n",send_buf);
#endif
}

float cal_voltage_adc(int16_t adc_val){
	return ((ADC_VREF_P - ADC_VREF_N) * adc_val / 512) + ADC_OFFSET;
}

float cal_voltage_inp(float vol_adc){
	return ((vol_adc - 1.5) / (ADC_R2 / (ADC_R1 + ADC_R2)));
}

void receive_polarity(void)
{
    HAL_StatusTypeDef st = HAL_SPI_Receive(&hspi2, polRxBuf, POL_RX_SIZE, POL_TIMEOUT_MS);

    if (st == HAL_OK)
    {
        polarity = polRxBuf[0];
    }
    else
    {
        HAL_SPI_Abort(&hspi2);
        __HAL_SPI_CLEAR_OVRFLAG(&hspi2);
        polarity = POL_UNKNOWN;      /* ← เปลี่ยนเป็น 2 */
    }
}
static uint8_t nmea_checksum(const char *s)
{
    uint8_t c = 0;
    while (*s) c ^= (uint8_t)*s++;
    return c;
}
void send_data_spi1(uint8_t pol)
{
    char body[112];
    char line[SPI_TX_FRAME_SIZE];

    /* body = ทุกอย่างระหว่าง $ กับ * */
    snprintf(body, sizeof(body),
        "STMFIELD,%d,%d,%d,%lu,%d,%lu,%d,%lu,%d,%lu,%d",
        rec.ns_favg,
        rec.ew_favg,
        rec.ns_max_adc, (unsigned long)rec.ns_max_t,
        rec.ns_min_adc, (unsigned long)rec.ns_min_t,
        rec.ew_max_adc, (unsigned long)rec.ew_max_t,
        rec.ew_min_adc, (unsigned long)rec.ew_min_t,
        pol);

    uint8_t ck  = nmea_checksum(body);
    int     len = snprintf(line, sizeof(line), "$%s*%02X\r\n", body, ck);

    if (len < 0) return;
    if (len > SPI_TX_FRAME_SIZE) len = SPI_TX_FRAME_SIZE;

    /* pad ศูนย์ให้เต็มเฟรมคงที่ */
    memset(spiTxFrame, 0, SPI_TX_FRAME_SIZE);
    memcpy(spiTxFrame, line, len);

    HAL_SPI_Transmit(&hspi1, spiTxFrame, SPI_TX_FRAME_SIZE, 100);
}

void reorder_samples(uint32_t n)
		{
    if (n >= SAMPLE_READ_MAX) {
        memcpy(ordered, sample, sizeof(sample));
        return;
    }
    uint32_t idx = 0;
    for (uint32_t i = n; i < SAMPLE_READ_MAX; i++)   // ส่วนเก่า
        ordered[idx++] = sample[i];
    for (uint32_t i = 0; i < n; i++)                 // ส่วนใหม่
        ordered[idx++] = sample[i];
		}
void find_max_min(){

	int count;
	sample_t *p_sample;
	uint16_t adc_data_a, adc_data_b;
	int16_t adc_value_a, adc_value_b;
	uint32_t counter = 0;

	rec.ns_favg = 0;
	rec.ns_max_adc = 0;
	rec.ns_min_adc = 0;
	rec.ew_favg = 0;
	rec.ew_max_adc = 0;
	rec.ew_min_adc = 0;
	rec.ns_max_t = 10000000;
	rec.ns_min_t = 10000000;
	rec.ew_max_t = 10000000;
	rec.ew_min_t = 10000000;
	rec.trigger_t = 0;

	count = 0;
	p_sample = ordered;;

	do{
		// Read ADC
		adc_data_a = p_sample->data_port_f & 0x03ff; // D0-D9 (PF0-PF9)
		adc_data_b = p_sample->data_port_g & 0x03ff; // D0-D9 (PG0-PG9)

		// Read Counter
		counter = 0;
		counter |= (uint32_t)(p_sample->data_port_e & 0xFFFF);                    // C0-C15  (PE0-PE15)
		counter |= (uint32_t)((p_sample->data_port_g >> 10) & 0x003F) << 16;      // C16-C21 (PG10-PG15)
		counter |= (uint32_t)((p_sample->data_port_f >> 10) & 0x0003) << 22;      // C22-C23 (PF10-PF11)

		// Convert the adc_data to adc_value
		adc_value_a = convert_number(adc_data_a);

#ifdef SETTING_INVERT_EW_CHANNEL
		adc_value_b = -(convert_number(adc_data_b));			// *Invert to negative value due to the hardware bug
#else
		adc_value_b = convert_number(adc_data_b);
#endif

		// Find Max/Min of N-S
		if(adc_value_a > rec.ns_max_adc && adc_value_a <= 450){
			rec.ns_max_adc = adc_value_a;
			rec.ns_max_t = counter;
		}else if (adc_value_a < rec.ns_min_adc && adc_value_a >= -450){
			rec.ns_min_adc = adc_value_a;
			rec.ns_min_t = counter;
		}
		// Find Max/Min of E-W
		if(adc_value_b > rec.ew_max_adc && adc_value_b <= 450){
			rec.ew_max_adc = adc_value_b;
			rec.ew_max_t = counter;
		}else if (adc_value_b < rec.ew_min_adc && adc_value_b >= -450){
			rec.ew_min_adc = adc_value_b;
			rec.ew_min_t = counter;
		}

		p_sample++;
#ifdef DEBUG_PRINT_DATA_ENABLE

		printf("%d, %lu, %d, %d\n", count, counter, adc_value_a, adc_value_b);
#endif
	} while(++count < SAMPLE_READ_MAX);
	printf("--- End of Counter Data ---\n\n");
}

void collect_samples(void)
{
    uint32_t n = 0;
    sample_t *p = sample;

    trigger_flag = 0;   // เคลียร์ก่อนเริ่มเก็บรอบใหม่

    // เก็บไปเรื่อย ๆ จนกว่าจะ trig หรือครบ 1000
    while (n < SAMPLE_READ_MAX)
    {
        p->data_port_e = GPIOE->IDR;
        p->data_port_f = GPIOF->IDR;
        p->data_port_g = GPIOG->IDR;
        p++;
        n++;

        if (trigger_flag)   // trig เข้า -> หยุดทันที (เช่นหยุดที่ 500)
            break;
    }

    captured_count = n;   // จำเลขไว้ให้ find_max_min ใช้
}

void EXTI0_IRQHandler(void)
{
    HAL_GPIO_EXTI_IRQHandler(GPIO_PIN_0);
}

void EXTI1_IRQHandler(void)
{
    HAL_GPIO_EXTI_IRQHandler(GPIO_PIN_1);
}
void HAL_GPIO_EXTI_Callback(uint16_t GPIO_Pin)
{
    if (GPIO_Pin == GPIO_PIN_0 || GPIO_Pin == GPIO_PIN_1)
    {
        trigger_flag = 1;
    }
    else if (GPIO_Pin == GPIO_USER_SW_Pin)
    {
        __NOP();   // user switch — add handling if needed
    }
}
// Overwite the _write function that defined in syscall.c
int _write(int file, char *ptr, int len)
{
    HAL_UART_Transmit(debug_uart, (uint8_t *)ptr, len, HAL_MAX_DELAY);
    return len;
}
/* USER CODE END 4 */

 /* MPU Configuration */

void MPU_Config(void)
{
  MPU_Region_InitTypeDef MPU_InitStruct = {0};

  /* Disables the MPU */
  HAL_MPU_Disable();

  /** Initializes and configures the Region and the memory to be protected
  */
  MPU_InitStruct.Enable = MPU_REGION_ENABLE;
  MPU_InitStruct.Number = MPU_REGION_NUMBER0;
  MPU_InitStruct.BaseAddress = 0x0;
  MPU_InitStruct.Size = MPU_REGION_SIZE_4GB;
  MPU_InitStruct.SubRegionDisable = 0x87;
  MPU_InitStruct.TypeExtField = MPU_TEX_LEVEL0;
  MPU_InitStruct.AccessPermission = MPU_REGION_NO_ACCESS;
  MPU_InitStruct.DisableExec = MPU_INSTRUCTION_ACCESS_DISABLE;
  MPU_InitStruct.IsShareable = MPU_ACCESS_SHAREABLE;
  MPU_InitStruct.IsCacheable = MPU_ACCESS_NOT_CACHEABLE;
  MPU_InitStruct.IsBufferable = MPU_ACCESS_NOT_BUFFERABLE;

  HAL_MPU_ConfigRegion(&MPU_InitStruct);
  /* Enables the MPU */
  HAL_MPU_Enable(MPU_PRIVILEGED_DEFAULT);

}

void Error_Handler(void)
{
  __disable_irq();
  while (1)
  {
  }
}
void clear_buffer(void)
{
    memset(sample, 0, sizeof(sample));
}
